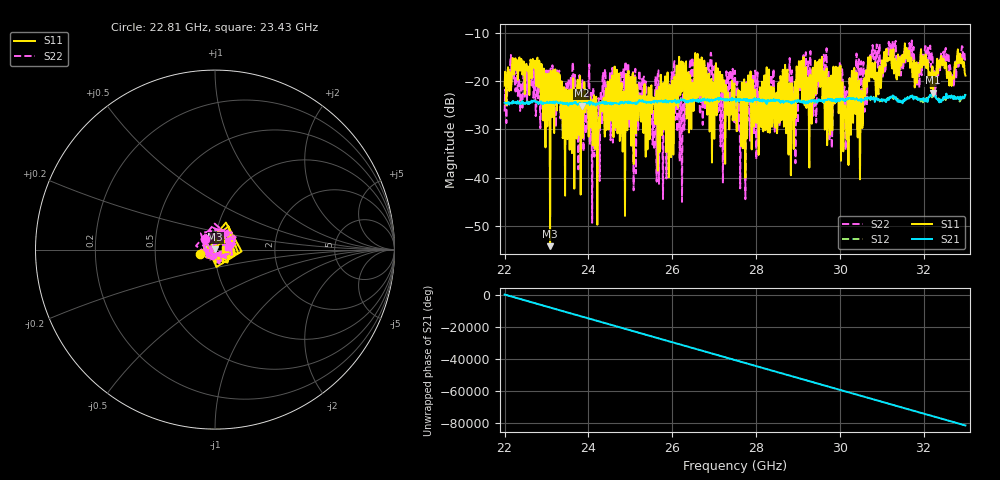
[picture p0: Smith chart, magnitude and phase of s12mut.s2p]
!Keysight Technologies,N5224B,MY57181201,A.12.70.07
!Date: Friday, July 15, 2022 16:07:20
!Correction: S11(Full 2 Port(1,2))
!S21(Full 2 Port(1,2))
!S12(Full 2 Port(1,2))
!S22(Full 2 Port(1,2))
!S2P File: Measurements: S11, S21, S12, S22:
# Hz S  dB  R 50
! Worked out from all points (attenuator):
!   801 points, 22 GHz to 33 GHz, reference 50 ohm
!   highest |S21| = -22.45 dB at 32.22 GHz (marker M1); lowest = -25.1 dB at 23.84 GHz (marker M2)
!   lowest |S11| = -54.2 dB at 23.09 GHz (marker M3), VSWR 1.00, Z = 50.1 + j0.173 ohm
!   |S11| at or under -10 dB: start of sweep to end of sweep
!   |S22| runs from -49.3 to -11.6 dB; largest |S21 - S12| = 0.0068
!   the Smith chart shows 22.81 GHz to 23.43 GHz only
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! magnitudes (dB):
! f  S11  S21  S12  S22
! 22 GHz  -21.0  -24.5  -24.5  -26.3
! 22.18 GHz  -16.6  -24.7  -24.7  -17.3
! 22.67 GHz  -15.4  -24.2  -24.4  -17.6
! 23.09 GHz  -54.2  -24.3  -24.5  -18.2
! 23.84 GHz  -22.7  -25.1  -25.2  -21.0
! 24.21 GHz  -49.8  -24.7  -24.8  -34.3
! 24.39 GHz  -31.5  -24.8  -24.6  -17.8
! 24.64 GHz  -29.7  -24.5  -24.6  -30.2
! 24.9 GHz  -18.6  -24.3  -24.4  -18.8
! 25.67 GHz  -26.3  -24.2  -24.2  -17.8
! 26.66 GHz  -15.6  -23.9  -23.9  -26.9
! 27.5 GHz  -28.1  -23.8  -23.8  -17.9
! 27.62 GHz  -22.5  -23.8  -23.7  -42.2
! 29.34 GHz  -21.3  -24.0  -24.3  -20.8
! 29.63 GHz  -19.8  -24.0  -24.2  -15.1
! 29.81 GHz  -24.4  -24.1  -24.1  -34.0
! 30.02 GHz  -16.8  -23.6  -23.7  -16.7
! 30.15 GHz  -30.0  -23.7  -23.8  -25.2
! 30.48 GHz  -40.4  -23.8  -23.7  -22.4
! 31.17 GHz  -15.2  -23.9  -23.6  -11.9
! 32.22 GHz  -17.0  -22.4  -23.3  -14.6
! 33 GHz  -18.9  -22.9  -22.9  -16.4
